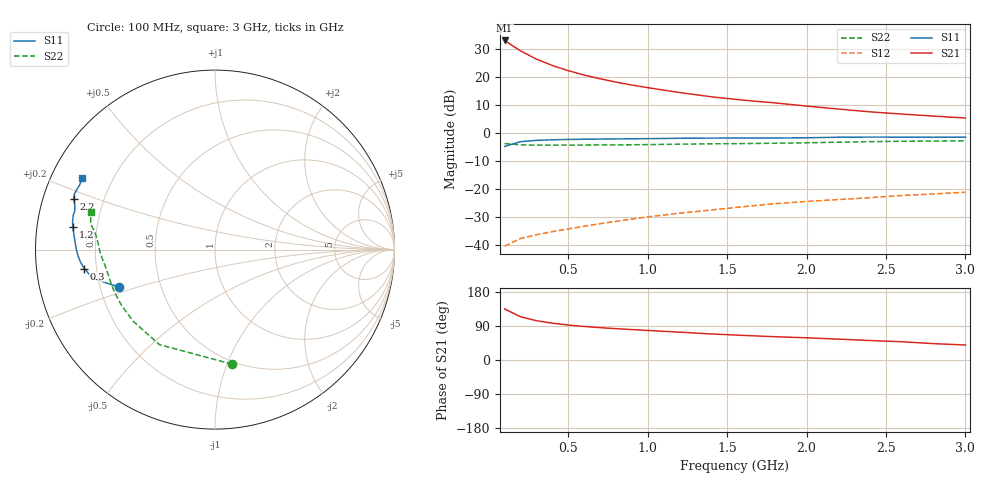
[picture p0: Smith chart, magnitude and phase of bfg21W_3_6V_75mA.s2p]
! Filename: 3_675bfg21.001
! Title: BFG21W
! Bias: Vce=3.6V; Ic=75mA
! Company: Philips Semiconductors NL
! User: Quality&Reliability T&D
! Measure time: 10 Nov 1999 / 11:44:10
#  MHz  S  MA  R 50
! Freq  S11  S21  S12  S22  :
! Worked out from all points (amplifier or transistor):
!   20 points, 100 MHz to 3 GHz, reference 50 ohm
!   highest |S21| = 32.9 dB at 100 MHz (marker M1)
!   |S21| within 3 dB of that: start of sweep to 180.9 MHz
!   unconditionally stable (mu >= 1): 754.1 MHz to end of sweep
!   at 400 MHz: K = 0.81, MSG = 29.6 dB, |S12| = -35.1 dB
!   at 1.2 GHz: K = 1.07, MAG = 19.9 dB, |S12| = -28.6 dB
!   at 3 GHz: K = 1.05, MAG = 11.8 dB, |S12| = -21.1 dB
!   S11 on the Smith chart (normalised r, x): 100 MHz: 0.28, -0.17; 300 MHz: 0.15, -0.07; 1.2 GHz: 0.11, +0.08; 2.2 GHz: 0.09, +0.17; 3 GHz: 0.09, +0.25
100  0.5755 -158.8  44.17 134.8  0.009645 51.4  0.6453 -81.5
200  0.6974 -166.6  28.82 114.1  0.01321 46.6  0.6133 -120.3
300  0.7364 -171.7  20.58 103.7  0.0154 48.2  0.6059 -138.7
400  0.7542 -175.0  15.84 97.2  0.01748 51.4  0.6062 -149.0
500  0.7643 -177.5  12.82 92.3  0.01955 54.6  0.6075 -155.7
600  0.7711 -179.6  10.71 88.5  0.02178 57.5  0.6087 -160.3
700  0.7761 178.5  9.202 85.4  0.02419 60.1  0.6096 -163.9
800  0.7808 176.9  8.031 82.6  0.02665 62.1  0.6115 -166.9
900  0.7859 175.2  7.119 80.4  0.02916 64.2  0.6148 -169.5
1000  0.7913 173.7  6.389 78.0  0.032 65.6  0.6191 -171.7
1200  0.8017 171.1  5.239 73.5  0.03725 67.6  0.6298 -175.4
1400  0.8086 168.9  4.394 68.7  0.04242 68.8  0.6397 -178.4
1600  0.8122 166.7  3.831 65.0  0.04852 69.7  0.6458 179.0
1800  0.8112 164.3  3.42 61.5  0.05505 70.3  0.6545 176.2
2000  0.8198 162.3  3.004 58.6  0.06022 71.1  0.6669 173.4
2200  0.8364 160.3  2.659 55.0  0.06519 71.2  0.6828 171.0
2400  0.8426 158.5  2.369 51.4  0.07037 70.6  0.6989 169.2
2600  0.8398 156.7  2.163 48.1  0.07702 69.8  0.7094 167.6
2800  0.8356 154.4  1.99 43.2  0.082 68.2  0.7147 165.6
3000  0.8405 151.8  1.839 39.6  0.08793 67.4  0.7228 163.0
